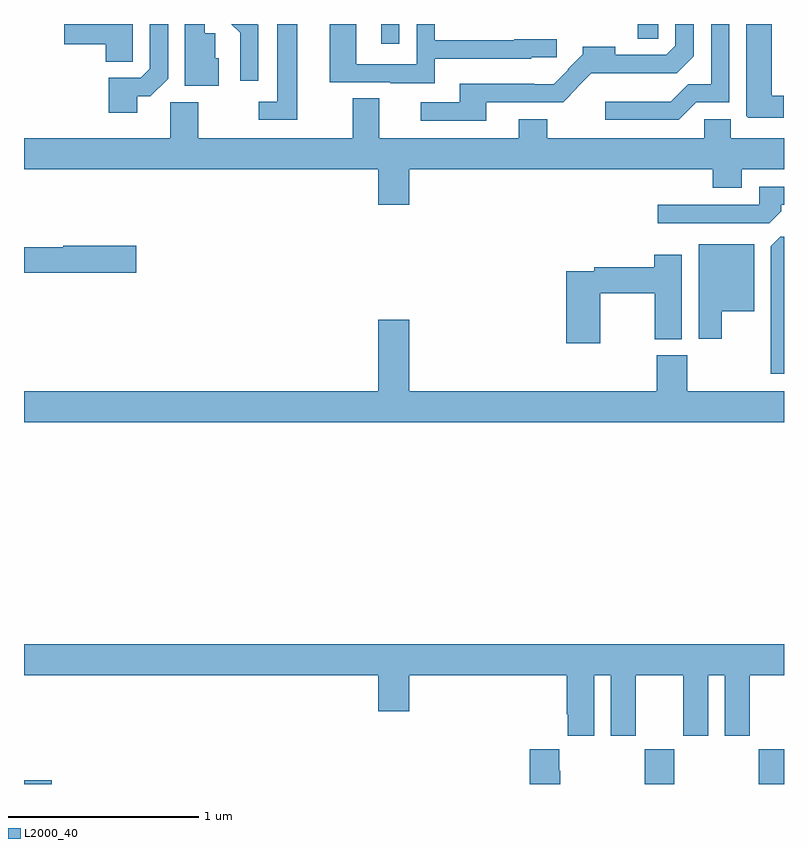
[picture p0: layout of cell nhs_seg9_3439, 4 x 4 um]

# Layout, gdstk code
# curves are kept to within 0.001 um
import gdstk
lib = gdstk.Library(unit=1e-6, precision=1e-09)
def R(c, l, rs):  # rectangles x0, y0, x1, y1
    for r in rs: c.add(gdstk.rectangle(r[:2], r[2:], *l))
def P(c, l, *ps):  # polygons
    for p in ps: c.add(gdstk.Polygon(p, *l))
L2000_40 = (2000, 40)

nhs_seg9_3439 = lib.new_cell('nhs_seg9_3439')
R(nhs_seg9_3439, L2000_40, [(307,1210.5,307.147,1210.52), (310.267,1210.5,310.422,1210.684), (310.867,1210.5,311,1210.684), (308.879,1214.397,308.976,1214.5), (310.23,1214.422,310.338,1214.5)])
P(nhs_seg9_3439, L2000_40, [(309.433,1214.088),(309.837,1214.088),(309.913,1214.165),(309.911,1214.167),(309.985,1214.241),(310.319,1214.24),(310.319,1214.242),(310.435,1214.242),(310.524,1214.331),(310.524,1214.5),(310.428,1214.5),(310.428,1214.385),(310.38,1214.337),(310.111,1214.337),(310.111,1214.38),(309.94,1214.38),(309.94,1214.341),(309.861,1214.262),(309.864,1214.259),(309.788,1214.183),(309.686,1214.183),(309.686,1214.185),(309.293,1214.185),(309.293,1214.088),(309.087,1214.088),(309.087,1213.992),(309.433,1213.992)],
  [(308.026,1214.319),(308.007,1214.319),(308.007,1214.451),(307.951,1214.451),(307.951,1214.5),(307.847,1214.5),(307.847,1214.174),(308.026,1214.174)],
  [(308.437,1214.5),(308.333,1214.5),(308.333,1214.091),(308.235,1214.091),(308.235,1213.995),(308.437,1213.995)],
  [(307.572,1214.41),(307.573,1214.41),(307.573,1214.5),(307.212,1214.5),(307.212,1214.393),(307.43,1214.393),(307.43,1214.302),(307.572,1214.302)],
  [(310.539,1214.088),(310.713,1214.088),(310.713,1214.5),(310.617,1214.5),(310.617,1214.183),(310.496,1214.183),(310.405,1214.092),(310.059,1214.092),(310.059,1213.995),(310.446,1213.995)],
  [(309.163,1214.318),(309.669,1214.318),(309.669,1214.325),(309.804,1214.325),(309.804,1214.421),(309.579,1214.421),(309.579,1214.415),(309.162,1214.415),(309.162,1214.5),(309.066,1214.5),(309.066,1214.289),(308.748,1214.289),(308.748,1214.5),(308.609,1214.5),(308.609,1214.193),(308.927,1214.193),(308.927,1214.189),(309.163,1214.189)],
  [(308.232,1214.496),(308.228,1214.5),(308.092,1214.5),(308.138,1214.454),(308.138,1214.202),(308.232,1214.202)],
  [(307.597,1214.119),(307.665,1214.119),(307.758,1214.211),(307.758,1214.5),(307.662,1214.5),(307.662,1214.265),(307.614,1214.217),(307.445,1214.217),(307.445,1214.034),(307.597,1214.034)],
  [(310.999,1214.123),(310.936,1214.123),(310.936,1214.5),(310.802,1214.5),(310.802,1214.017),(310.812,1214.007),(310.999,1214.007)],
  [(309.028,1213.736),(310.625,1213.736),(310.625,1213.637),(310.777,1213.637),(310.777,1213.736),(311,1213.736),(311,1213.9),(310.72,1213.9),(310.72,1213.998),(310.581,1213.998),(310.581,1213.9),(309.753,1213.9),(309.753,1213.999),(309.605,1213.999),(309.605,1213.9),(308.869,1213.9),(308.869,1214.108),(308.729,1214.108),(308.729,1213.9),(307.917,1213.9),(307.917,1214.089),(307.77,1214.089),(307.77,1213.9),(307,1213.9),(307,1213.736),(308.864,1213.736),(308.864,1213.548),(309.028,1213.548)],
  [(310.985,1213.514),(310.985,1213.548),(311,1213.548),(311,1213.644),(310.869,1213.644),(310.869,1213.548),(310.335,1213.548),(310.335,1213.452),(310.923,1213.452)],
  [(311,1213.38),(310.98,1213.38),(310.931,1213.331),(310.931,1212.659),(311,1212.659)],
  [(310.672,1212.989),(310.843,1212.989),(310.843,1213.342),(310.55,1213.342),(310.55,1212.843),(310.672,1212.843)],
  [(307.591,1213.332),(307.206,1213.332),(307.206,1213.324),(307,1213.324),(307,1213.19),(307.591,1213.19)],
  [(310.032,1213.084),(310.321,1213.084),(310.321,1212.841),(310.462,1212.841),(310.462,1213.285),(310.316,1213.285),(310.316,1213.22),(310,1213.22),(310,1213.2),(309.854,1213.2),(309.854,1212.819),(310.032,1212.819)],
  [(311,1212.568),(310.491,1212.568),(310.491,1212.756),(310.331,1212.756),(310.331,1212.568),(309.028,1212.568),(309.028,1212.943),(308.864,1212.943),(308.864,1212.568),(307,1212.568),(307,1212.404),(311,1212.404)],
  [(310,1211.072),(310.088,1211.072),(310.088,1210.755),(310.219,1210.755),(310.219,1211.072),(310.469,1211.072),(310.469,1210.755),(310.6,1210.755),(310.6,1211.072),(310.688,1211.072),(310.688,1210.755),(310.819,1210.755),(310.819,1211.072),(311,1211.072),(311,1211.236),(307,1211.236),(307,1211.072),(308.864,1211.072),(308.864,1210.884),(309.028,1210.884),(309.028,1211.072),(309.857,1211.072),(309.857,1210.867),(309.863,1210.867),(309.863,1210.755),(310,1210.755)],
  [(309.822,1210.571),(309.817,1210.571),(309.817,1210.684),(309.662,1210.684),(309.662,1210.5),(309.822,1210.5)])

lib.write_gds('nhs_seg9_3439.gds')
